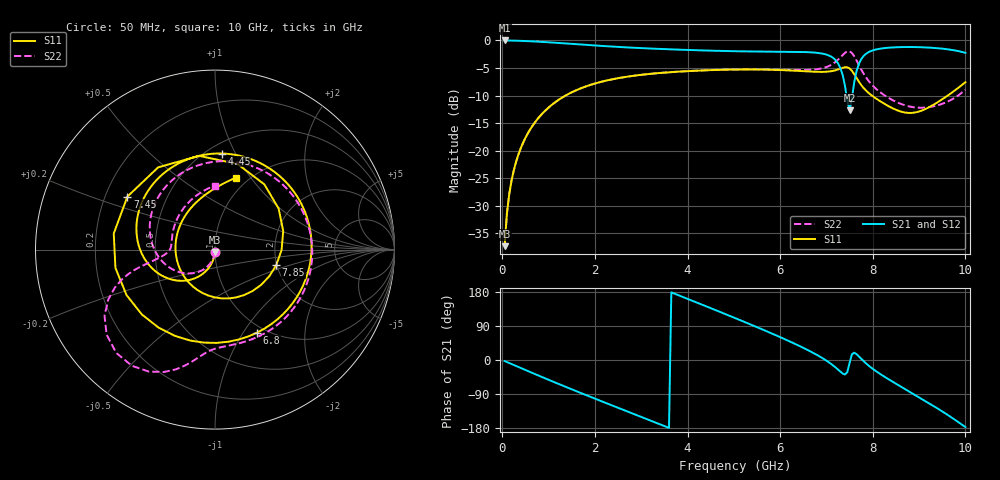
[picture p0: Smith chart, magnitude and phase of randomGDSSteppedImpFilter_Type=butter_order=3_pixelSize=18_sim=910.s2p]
! freq	dB(S11)	phase(S11)	dB(S12)	phase(S12)
!  dB(S21)	phase(S21)	dB(S22)	phase(S22)
!S-par simulation data
#  GHz  S  DB  R 50
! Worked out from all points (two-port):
!   200 points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, 50 MHz to 10 GHz, reference 50 ohm
!   highest |S21| = -0.01 dB at 50 MHz (marker M1); lowest = -12.7 dB at 7.5 GHz (marker M2)
!   |S21| within 3 dB of the highest: start of sweep to 7.114 GHz; 7.786 GHz to end of sweep
!   lowest |S11| = -37.3 dB at 50 MHz (marker M3), VSWR 1.03, Z = 49.9 - j1.35 ohm
!   |S11| at or under -10 dB: start of sweep to 1.368 GHz; 7.979 GHz to 9.62 GHz (1.64 GHz wide, 18.6 % of centre)
!   |S22| runs from -37.4 to -2.0 dB; largest |S21 - S12| = 0
!   S11 on the Smith chart (normalised r, x): 50 MHz: 1.00, -0.03; 4.45 GHz: 0.59, +0.88; 6.8 GHz: 0.91, -1.15; 7.45 GHz: 0.29, +0.26; 7.85 GHz: 1.99, -0.39; 10 GHz: 0.88, +0.85
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0.05  -37.35 -92.0  -0.01 -2.7  -0.01 -2.7  -37.35 -92.7
0.2  -25.43 -99.3  -0.03 -10.7  -0.03 -10.7  -25.44 -102.4
0.5  -17.68 -113.1  -0.11 -26.4  -0.11 -26.4  -17.69 -120.8
1.15  -11.17 -141.5  -0.42 -59.9  -0.42 -59.9  -11.18 -159.6
1.75  -8.52 -166.2  -0.77 -89.8  -0.77 -89.8  -8.52 165.3
2.65  -6.64 158.8  -1.25 -133.4  -1.25 -133.4  -6.64 113.1
3.4  -5.91 129.9  -1.54 -169.5  -1.54 -169.5  -5.91 70.0
4.45  -5.41 86.1  -1.85 139.3  -1.85 139.3  -5.39 12.2
5.05  -5.28 57.4  -1.96 109.5  -1.96 109.5  -5.27 -18.0
6  -5.37 2.6  -2.05 60.4  -2.05 60.4  -5.31 -59.9
6.7  -5.67 -52.8  -2.18 19.7  -2.18 19.7  -5.31 -85.3
6.8  -5.70 -63.3  -2.25 13.0  -2.25 13.0  -5.22 -88.5
7.2  -5.41 -125.9  -3.60 -20.0  -3.60 -20.0  -3.87 -101.9
7.35  -4.97 -169.6  -6.28 -35.8  -6.28 -35.8  -2.64 -112.6
7.45  -4.87 148.8  -10.98 -32.0  -10.98 -32.0  -1.98 -125.5
7.5  -5.08 124.6  -12.68 -7.5  -12.68 -7.5  -1.98 -133.6
7.65  -6.83 52.9  -5.56 15.4  -5.56 15.4  -3.65 -154.9
7.85  -9.07 -14.2  -2.45 -8.6  -2.45 -8.6  -6.66 -165.7
8.35  -11.98 -105.9  -1.32 -51.5  -1.32 -51.5  -10.48 -172.7
9.15  -12.41 142.1  -1.27 -109.3  -1.27 -109.3  -12.18 168.7
9.6  -10.12 99.4  -1.59 -143.5  -1.59 -143.5  -11.17 137.2
10  -7.58 73.7  -2.26 -177.2  -2.26 -177.2  -8.96 90.1
